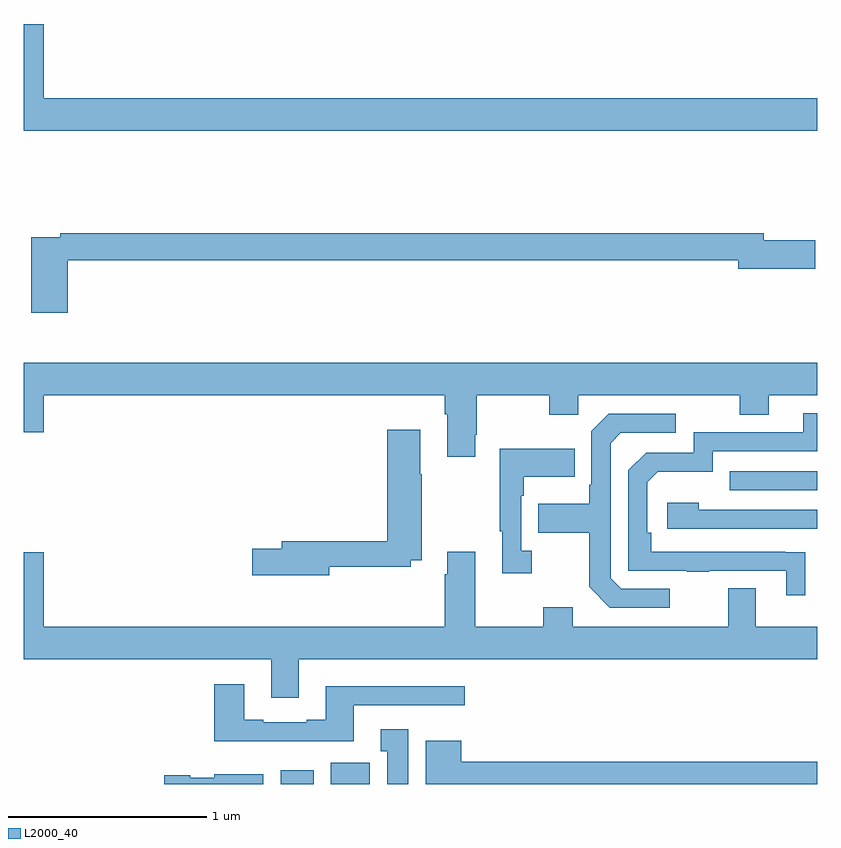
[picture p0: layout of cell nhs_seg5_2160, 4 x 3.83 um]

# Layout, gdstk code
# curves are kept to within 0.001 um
import gdstk
lib = gdstk.Library(unit=1e-6, precision=1e-09)
def R(c, l, rs):  # rectangles x0, y0, x1, y1
    for r in rs: c.add(gdstk.rectangle(r[:2], r[2:], *l))
def P(c, l, *ps):  # polygons
    for p in ps: c.add(gdstk.Polygon(p, *l))
L2000_40 = (2000, 40)

nhs_seg5_2160 = lib.new_cell('nhs_seg5_2160')
R(nhs_seg5_2160, L2000_40, [(238.295,854.799,238.462,854.869), (238.547,854.799,238.743,854.905), (240.559,856.281,241,856.377)])
P(nhs_seg5_2160, L2000_40, [(241,858.256),(237.1,858.256),(237.1,858.631),(237,858.631),(237,858.092),(241,858.092)],
  [(237.221,857.44),(240.602,857.44),(240.602,857.398),(240.991,857.398),(240.991,857.54),(240.73,857.54),(240.73,857.576),(237.184,857.576),(237.184,857.556),(237.038,857.556),(237.038,857.175),(237.221,857.175)],
  [(239.275,856.561),(239.283,856.561),(239.283,856.76),(239.65,856.76),(239.65,856.661),(239.796,856.661),(239.796,856.76),(240.61,856.76),(240.61,856.661),(240.757,856.661),(240.757,856.76),(241,856.76),(241,856.924),(237,856.924),(237,856.572),(237.1,856.572),(237.1,856.76),(239.123,856.76),(239.123,856.664),(239.135,856.664),(239.135,856.449),(239.275,856.449)],
  [(240.941,855.968),(240.164,855.969),(240.164,856.066),(240.144,856.066),(240.144,856.32),(240.197,856.373),(240.474,856.373),(240.474,856.476),(241,856.476),(241,856.668),(240.929,856.668),(240.929,856.572),(240.378,856.572),(240.378,856.47),(240.138,856.47),(240.048,856.38),(240.048,855.873),(240.343,855.873),(240.343,855.868),(240.455,855.868),(240.455,855.873),(240.845,855.873),(240.845,855.75),(240.941,855.75)],
  [(240.256,855.783),(240.012,855.783),(239.958,855.837),(239.958,856.518),(240.009,856.569),(240.286,856.569),(240.286,856.665),(239.949,856.665),(239.862,856.578),(239.862,856.309),(239.85,856.309),(239.85,856.213),(239.593,856.213),(239.593,856.066),(239.85,856.066),(239.85,855.793),(239.955,855.687),(240.256,855.687)],
  [(238.54,855.894),(238.95,855.894),(238.95,855.926),(239.007,855.926),(239.007,856.361),(238.999,856.361),(238.999,856.585),(238.832,856.585),(238.832,856.022),(238.301,856.022),(238.301,855.986),(238.152,855.986),(238.152,855.851),(238.54,855.851)],
  [(239.56,855.974),(239.508,855.974),(239.508,856.253),(239.521,856.253),(239.521,856.349),(239.777,856.349),(239.777,856.489),(239.4,856.489),(239.4,856.073),(239.411,856.073),(239.411,855.861),(239.56,855.861)],
  [(241,856.182),(240.404,856.182),(240.404,856.216),(240.243,856.216),(240.243,856.086),(241,856.086)],
  [(238.387,855.428),(241,855.428),(241,855.592),(240.691,855.592),(240.691,855.787),(240.551,855.787),(240.551,855.592),(239.767,855.592),(239.767,855.691),(239.62,855.691),(239.62,855.592),(239.275,855.592),(239.275,855.97),(239.135,855.97),(239.135,855.857),(239.123,855.857),(239.123,855.592),(237.1,855.592),(237.1,855.967),(237,855.967),(237,855.428),(238.247,855.428),(238.247,855.234),(238.387,855.234)],
  [(238.663,855.195),(239.224,855.195),(239.224,855.292),(238.523,855.292),(238.523,855.124),(238.427,855.124),(238.427,855.111),(238.207,855.111),(238.207,855.124),(238.111,855.124),(238.111,855.301),(237.959,855.301),(237.959,855.014),(238.663,855.014)],
  [(238.939,855.076),(238.799,855.076),(238.799,854.963),(238.832,854.963),(238.832,854.799),(238.939,854.799)],
  [(241,854.912),(239.206,854.912),(239.206,855.016),(239.027,855.016),(239.027,854.799),(241,854.799)],
  [(238.207,854.848),(237.96,854.848),(237.96,854.83),(237.84,854.83),(237.84,854.843),(237.708,854.843),(237.708,854.799),(238.207,854.799)])

lib.write_gds('nhs_seg5_2160.gds')
